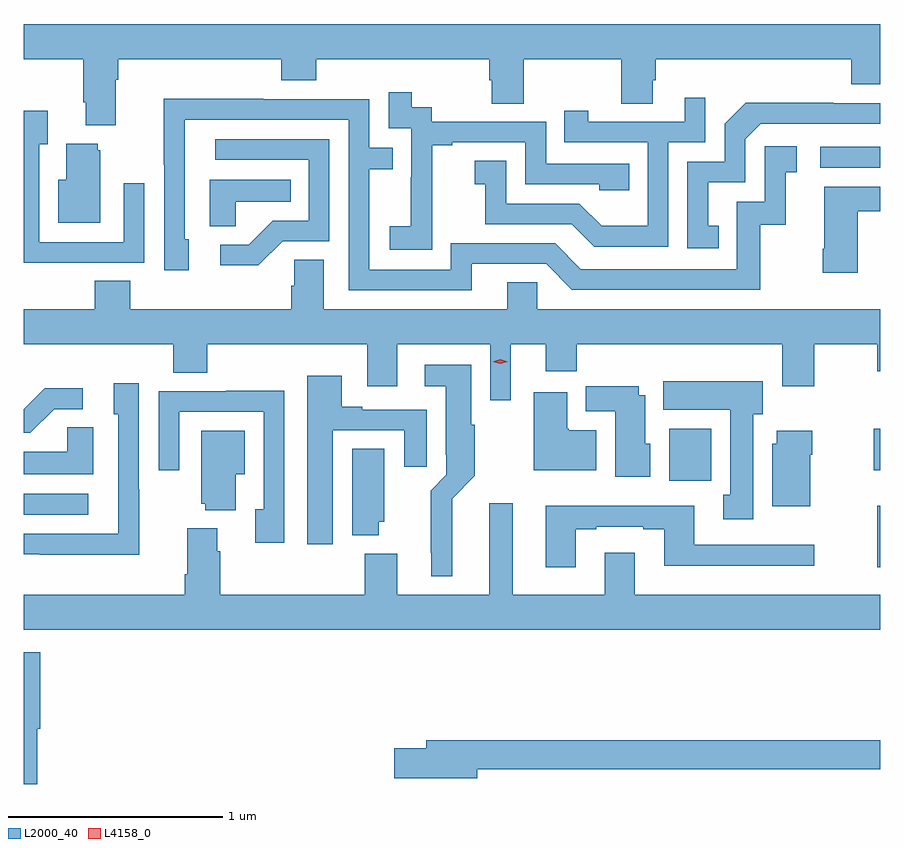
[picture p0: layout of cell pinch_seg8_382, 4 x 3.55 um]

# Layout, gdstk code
import gdstk
lib = gdstk.Library(unit=1e-6, precision=1e-09)
def R(c, l, rs):  # rectangles x0, y0, x1, y1
    for r in rs: c.add(gdstk.rectangle(r[:2], r[2:], *l))
def P(c, l, *ps):  # polygons
    for p in ps: c.add(gdstk.Polygon(p, *l))
L2000_40 = (2000, 40)
L4158_0 = (4158, 0)

pinch_seg8_382 = lib.new_cell('pinch_seg8_382')
R(pinch_seg8_382, L2000_40, [(463.294,1087.488,463.309,1087.774), (459.309,1087.734,459.61,1087.83), (462.323,1087.892,462.52,1088.134), (463.279,1087.94,463.309,1088.134), (463.029,1089.354,463.309,1089.45)])
P(pinch_seg8_382, L2000_40, [(459.739,1089.764),(459.752,1089.764),(459.752,1089.86),(460.511,1089.86),(460.511,1089.761),(460.676,1089.761),(460.676,1089.86),(461.483,1089.86),(461.483,1089.762),(461.495,1089.762),(461.495,1089.652),(461.643,1089.652),(461.643,1089.86),(462.1,1089.86),(462.1,1089.652),(462.247,1089.652),(462.247,1089.762),(462.26,1089.762),(462.26,1089.86),(463.172,1089.86),(463.172,1089.743),(463.309,1089.743),(463.309,1090.024),(459.309,1090.024),(459.309,1089.86),(459.587,1089.86),(459.587,1089.658),(459.599,1089.658),(459.599,1089.551),(459.739,1089.551)],
  [(461.217,1089.175),(461.216,1089.175),(461.216,1089.459),(461.311,1089.459),(461.311,1089.471),(461.652,1089.471),(461.652,1089.276),(461.997,1089.276),(461.997,1089.249),(462.137,1089.249),(462.137,1089.372),(461.748,1089.372),(461.748,1089.567),(461.214,1089.567),(461.214,1089.636),(461.122,1089.636),(461.122,1089.706),(461.013,1089.706),(461.013,1089.537),(461.118,1089.537),(461.118,1089.308),(461.117,1089.308),(461.117,1089.079),(461.019,1089.079),(461.019,1088.969),(461.217,1088.969)],
  [(462.318,1089.471),(462.492,1089.471),(462.492,1089.679),(462.395,1089.679),(462.395,1089.567),(461.944,1089.567),(461.944,1089.619),(461.833,1089.619),(461.833,1089.471),(462.222,1089.471),(462.222,1089.082),(462.008,1089.082),(461.904,1089.186),(461.562,1089.186),(461.562,1089.385),(461.415,1089.385),(461.415,1089.275),(461.464,1089.275),(461.464,1089.09),(461.867,1089.09),(461.972,1088.985),(462.318,1088.985)],
  [(461.401,1088.904),(461.748,1088.904),(461.868,1088.784),(462.748,1088.784),(462.748,1089.087),(462.866,1089.087),(462.866,1089.333),(462.919,1089.333),(462.919,1089.454),(462.768,1089.454),(462.768,1089.195),(462.639,1089.195),(462.639,1088.88),(461.91,1088.88),(461.79,1089),(461.304,1089),(461.304,1088.877),(460.923,1088.877),(460.923,1089.346),(461.033,1089.346),(461.033,1089.447),(460.923,1089.447),(460.923,1089.672),(460.427,1089.672),(460.427,1089.674),(459.964,1089.674),(459.964,1089.367),(459.966,1089.367),(459.966,1088.874),(460.081,1088.874),(460.081,1089.018),(460.062,1089.018),(460.062,1089.576),(460.827,1089.576),(460.827,1088.781),(461.401,1088.781)],
  [(462.554,1089.081),(462.505,1089.081),(462.505,1089.285),(462.678,1089.285),(462.678,1089.486),(462.75,1089.558),(463.309,1089.558),(463.309,1089.654),(463.088,1089.654),(463.088,1089.656),(462.68,1089.656),(462.582,1089.558),(462.582,1089.381),(462.408,1089.381),(462.408,1088.976),(462.554,1088.976)],
  [(459.557,1088.91),(459.873,1088.91),(459.873,1089.28),(459.777,1089.28),(459.777,1089.006),(459.381,1089.006),(459.381,1089.463),(459.421,1089.463),(459.421,1089.619),(459.309,1089.619),(459.309,1088.909),(459.557,1088.909)],
  [(460.518,1089.009),(460.737,1089.009),(460.737,1089.486),(460.203,1089.486),(460.203,1089.39),(460.641,1089.39),(460.641,1089.105),(460.472,1089.105),(460.361,1088.994),(460.227,1088.994),(460.227,1088.897),(460.405,1088.897)],
  [(459.667,1089.435),(459.656,1089.435),(459.656,1089.466),(459.509,1089.466),(459.509,1089.298),(459.47,1089.298),(459.47,1089.095),(459.667,1089.095)],
  [(460.299,1089.194),(460.556,1089.194),(460.556,1089.298),(460.178,1089.298),(460.178,1089.079),(460.299,1089.079)],
  [(463.204,1089.151),(463.309,1089.151),(463.309,1089.265),(463.046,1089.265),(463.046,1088.974),(463.039,1088.974),(463.039,1088.862),(463.204,1088.862)],
  [(461.706,1088.819),(461.567,1088.819),(461.567,1088.692),(460.711,1088.692),(460.711,1088.924),(460.572,1088.924),(460.572,1088.801),(460.559,1088.801),(460.559,1088.692),(459.806,1088.692),(459.806,1088.825),(459.641,1088.825),(459.641,1088.692),(459.309,1088.692),(459.309,1088.528),(460.007,1088.528),(460.007,1088.395),(460.167,1088.395),(460.167,1088.528),(460.913,1088.528),(460.913,1088.334),(461.053,1088.334),(461.053,1088.528),(461.487,1088.528),(461.487,1088.268),(461.584,1088.268),(461.584,1088.528),(461.747,1088.528),(461.747,1088.404),(461.891,1088.404),(461.891,1088.528),(462.851,1088.528),(462.851,1088.334),(462.999,1088.334),(462.999,1088.528),(463.294,1088.528),(463.294,1088.404),(463.309,1088.404),(463.309,1088.692),(461.706,1088.692)],
  [(461.311,1087.808),(461.416,1087.914),(461.416,1088.154),(461.398,1088.154),(461.398,1088.434),(461.181,1088.434),(461.181,1088.333),(461.279,1088.333),(461.279,1088.014),(461.283,1088.014),(461.283,1087.92),(461.209,1087.846),(461.209,1087.555),(461.213,1087.555),(461.213,1087.445),(461.311,1087.445)],
  [(460.753,1088.127),(461.087,1088.127),(461.087,1087.956),(461.191,1087.956),(461.191,1088.223),(460.891,1088.223),(460.891,1088.236),(460.795,1088.236),(460.795,1088.383),(460.634,1088.383),(460.634,1087.596),(460.753,1087.596)],
  [(462.715,1088.202),(462.76,1088.202),(462.76,1088.356),(462.296,1088.356),(462.296,1088.222),(462.608,1088.222),(462.608,1087.826),(462.575,1087.826),(462.575,1087.713),(462.715,1087.713)],
  [(459.849,1087.853),(459.846,1087.853),(459.846,1088.347),(459.731,1088.347),(459.731,1088.202),(459.75,1088.202),(459.75,1087.644),(459.309,1087.644),(459.309,1087.548),(459.385,1087.548),(459.385,1087.547),(459.849,1087.547)],
  [(462.235,1088.064),(462.211,1088.064),(462.211,1088.29),(462.181,1088.29),(462.181,1088.334),(461.933,1088.334),(461.933,1088.216),(462.071,1088.216),(462.071,1087.91),(462.235,1087.91)],
  [(459.451,1088.226),(459.586,1088.226),(459.586,1088.324),(459.407,1088.324),(459.309,1088.226),(459.309,1088.115),(459.34,1088.115)],
  [(460.527,1088.312),(460.255,1088.312),(460.255,1088.31),(459.939,1088.31),(459.939,1087.941),(460.035,1087.941),(460.035,1088.214),(460.431,1088.214),(460.431,1087.758),(460.391,1087.758),(460.391,1087.602),(460.527,1087.602)],
  [(461.983,1088.128),(461.854,1088.128),(461.854,1088.134),(461.848,1088.134),(461.848,1088.305),(461.69,1088.305),(461.69,1087.94),(461.983,1087.94)],
  [(459.634,1088.141),(459.513,1088.141),(459.513,1088.026),(459.309,1088.026),(459.309,1087.922),(459.634,1087.922)],
  [(460.3,1087.922),(460.342,1087.922),(460.342,1088.125),(460.139,1088.125),(460.139,1087.785),(460.157,1087.785),(460.157,1087.754),(460.3,1087.754)],
  [(462.982,1088.012),(462.99,1088.012),(462.99,1088.125),(462.824,1088.125),(462.824,1088.064),(462.803,1088.064),(462.803,1087.772),(462.982,1087.772)],
  [(460.966,1087.701),(460.993,1087.701),(460.993,1088.042),(460.844,1088.042),(460.844,1087.637),(460.966,1087.637)],
  [(463.309,1087.36),(462.163,1087.36),(462.163,1087.555),(462.023,1087.555),(462.023,1087.36),(461.593,1087.36),(461.593,1087.786),(461.483,1087.786),(461.483,1087.36),(461.053,1087.36),(461.053,1087.552),(460.901,1087.552),(460.901,1087.36),(460.226,1087.36),(460.226,1087.562),(460.213,1087.562),(460.213,1087.669),(460.073,1087.669),(460.073,1087.456),(460.061,1087.456),(460.061,1087.36),(459.309,1087.36),(459.309,1087.196),(463.309,1087.196)],
  [(461.887,1087.665),(461.983,1087.665),(461.983,1087.677),(462.203,1087.677),(462.203,1087.665),(462.299,1087.665),(462.299,1087.496),(463,1087.496),(463,1087.593),(462.439,1087.593),(462.439,1087.774),(461.747,1087.774),(461.747,1087.488),(461.887,1087.488)],
  [(459.373,1086.734),(459.386,1086.734),(459.386,1087.09),(459.309,1087.09),(459.309,1086.476),(459.373,1086.476)],
  [(461.428,1086.544),(463.309,1086.544),(463.309,1086.68),(461.189,1086.68),(461.189,1086.644),(461.04,1086.644),(461.04,1086.502),(461.428,1086.502)])
P(pinch_seg8_382, L4158_0, [(461.535,1088.438),(461.5,1088.448),(461.499,1088.448),(461.5,1088.448),(461.535,1088.458),(461.57,1088.448),(461.57,1088.448),(461.57,1088.448)])

lib.write_gds('pinch_seg8_382.gds')
